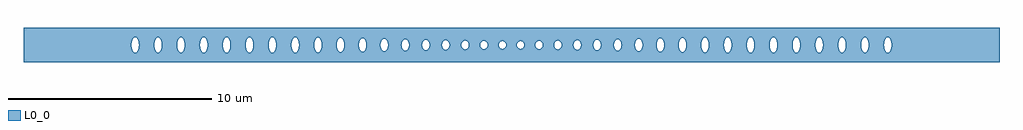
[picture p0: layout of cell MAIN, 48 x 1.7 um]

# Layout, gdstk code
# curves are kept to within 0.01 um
import gdstk
lib = gdstk.Library(unit=1e-6, precision=1e-09)
def P(c, l, *ps):  # polygons
    for p in ps: c.add(gdstk.Polygon(p, *l))
L0_0 = (0, 0)

main = lib.new_cell('MAIN')
P(main, L0_0, [(-18.54,-0.387),(-18.598,-0.345),(-18.651,-0.253),(-18.651,-0.85),(-18.54,-0.85)],
  [(-18.534,0.389),(-18.48,0.39),(-18.414,0.345),(-18.362,0.257),(-18.327,0.132),(-18.327,0.85),(-18.54,0.85)],
  [(-18.327,-0.132),(-18.362,-0.257),(-18.414,-0.345),(-18.48,-0.39),(-18.54,-0.387),(-18.54,-0.85),(-18.327,-0.85)],
  [(24,0.85),(18.651,0.85),(18.651,0.253),(18.685,0.132),(18.696,0),(18.685,-0.132),(18.651,-0.253),(18.651,-0.85),(24,-0.85)],
  [(-17.471,0.347),(-17.405,0.391),(-17.34,0.384),(-17.285,0.339),(-17.235,0.248),(-17.235,0.85),(-17.476,0.85)],
  [(-17.235,-0.248),(-17.285,-0.339),(-17.34,-0.384),(-17.405,-0.391),(-17.476,-0.342),(-17.476,-0.85),(-17.235,-0.85)],
  [(-17.571,0.006),(-17.546,0.198),(-17.476,0.342),(-17.476,0.85),(-18.327,0.85),(-18.317,0)],
  [(-16.399,0.261),(-16.34,0.355),(-16.28,0.391),(-16.213,0.383),(-16.159,0.336),(-16.159,0.85),(-16.401,0.85)],
  [(-16.159,-0.336),(-16.213,-0.383),(-16.28,-0.391),(-16.34,-0.355),(-16.401,-0.257),(-16.401,-0.85),(-16.159,-0.85)],
  [(-16.447,0.006),(-16.439,0.116),(-16.401,0.257),(-16.401,0.85),(-17.235,0.85),(-17.235,0.248),(-17.201,0.121),(-17.192,0)],
  [(-15.309,0.147),(-15.279,0.253),(-15.225,0.345),(-15.156,0.391),(-15.094,0.385),(-15.094,0.85),(-15.31,0.85)],
  [(-15.094,-0.385),(-15.156,-0.391),(-15.225,-0.345),(-15.279,-0.253),(-15.31,-0.142),(-15.31,-0.85),(-15.094,-0.85)],
  [(-15.323,0.006),(-15.31,0.142),(-15.31,0.85),(-16.159,0.85),(-16.159,0.336),(-16.092,0.193),(-16.068,0)],
  [(-14.198,0.011),(-14.188,0.132),(-14.153,0.257),(-14.101,0.345),(-14.037,0.389),(-14.037,0.85),(-14.198,0.85)],
  [(-14.037,-0.389),(-14.101,-0.345),(-14.153,-0.257),(-14.188,-0.132),(-14.198,-0.006),(-14.198,-0.85),(-14.037,-0.85)],
  [(-14.032,0.391),(-13.965,0.383),(-13.91,0.336),(-13.86,0.244),(-13.829,0.121),(-13.829,0.85),(-14.037,0.85)],
  [(-13.829,-0.121),(-13.86,-0.244),(-13.91,-0.336),(-13.965,-0.383),(-14.037,-0.389),(-14.037,-0.85),(-13.829,-0.85)],
  [(-14.198,0.006),(-14.198,0.85),(-15.094,0.85),(-15.094,0.385),(-15.039,0.342),(-14.984,0.244),(-14.951,0.11),(-14.944,0)],
  [(-12.969,0.352),(-12.908,0.391),(-12.843,0.384),(-12.788,0.339),(-12.734,0.239),(-12.734,0.85),(-12.974,0.85)],
  [(-12.734,-0.239),(-12.788,-0.339),(-12.843,-0.384),(-12.908,-0.391),(-12.974,-0.347),(-12.974,-0.85),(-12.734,-0.85)],
  [(-13.074,0.006),(-13.049,0.198),(-12.974,0.347),(-12.974,0.85),(-13.829,0.85),(-13.819,0)],
  [(-11.899,0.269),(-11.838,0.36),(-11.783,0.391),(-11.716,0.383),(-11.657,0.33),(-11.657,0.85),(-11.9,0.85)],
  [(-11.657,-0.33),(-11.716,-0.383),(-11.783,-0.391),(-11.852,-0.345),(-11.9,-0.265),(-11.9,-0.85),(-11.657,-0.85)],
  [(-11.95,0.006),(-11.935,0.153),(-11.9,0.265),(-11.9,0.85),(-12.734,0.85),(-12.734,0.239),(-12.704,0.121),(-12.695,0)],
  [(-10.81,0.157),(-10.776,0.264),(-10.725,0.345),(-10.66,0.387),(-10.591,0.378),(-10.591,0.85),(-10.811,0.85)],
  [(-10.591,-0.378),(-10.66,-0.387),(-10.725,-0.345),(-10.776,-0.264),(-10.811,-0.152),(-10.811,-0.85),(-10.591,-0.85)],
  [(-10.826,0.006),(-10.811,0.152),(-10.811,0.85),(-11.657,0.85),(-11.657,0.33),(-11.591,0.178),(-11.571,0)],
  [(-9.706,0.025),(-9.687,0.167),(-9.656,0.258),(-9.601,0.34),(-9.532,0.378),(-9.532,0.85),(-9.706,0.85)],
  [(-9.532,-0.378),(-9.601,-0.34),(-9.656,-0.258),(-9.687,-0.167),(-9.706,-0.019),(-9.706,-0.85),(-9.532,-0.85)],
  [(-9.527,0.378),(-9.472,0.369),(-9.403,0.304),(-9.355,0.199),(-9.331,0.082),(-9.331,0.85),(-9.532,0.85)],
  [(-9.331,-0.082),(-9.355,-0.199),(-9.407,-0.31),(-9.472,-0.369),(-9.532,-0.378),(-9.532,-0.85),(-9.331,-0.85)],
  [(-9.706,0.003),(-9.706,0.85),(-10.591,0.85),(-10.591,0.378),(-10.531,0.325),(-10.484,0.234),(-10.454,0.11),(-10.447,0)],
  [(-8.468,0.345),(-8.404,0.363),(-8.328,0.328),(-8.276,0.257),(-8.238,0.156),(-8.238,0.85),(-8.473,0.85)],
  [(-8.238,-0.156),(-8.282,-0.268),(-8.338,-0.336),(-8.404,-0.363),(-8.473,-0.342),(-8.473,-0.85),(-8.238,-0.85)],
  [(-8.599,0.005),(-8.564,0.212),(-8.525,0.288),(-8.473,0.342),(-8.473,0.85),(-9.331,0.85),(-9.327,0)],
  [(-7.413,0.3),(-7.35,0.339),(-7.279,0.334),(-7.208,0.275),(-7.165,0.192),(-7.165,0.85),(-7.418,0.85)],
  [(-7.165,-0.192),(-7.208,-0.275),(-7.279,-0.334),(-7.35,-0.339),(-7.418,-0.295),(-7.418,-0.85),(-7.165,-0.85)],
  [(-7.511,0.005),(-7.488,0.165),(-7.418,0.295),(-7.418,0.85),(-8.238,0.85),(-8.238,0.156),(-8.22,0)],
  [(-6.366,0.262),(-6.307,0.309),(-6.233,0.317),(-6.162,0.276),(-6.107,0.193),(-6.107,0.85),(-6.371,0.85)],
  [(-6.107,-0.193),(-6.162,-0.276),(-6.233,-0.317),(-6.307,-0.309),(-6.371,-0.256),(-6.371,-0.85),(-6.107,-0.85)],
  [(-6.447,0.005),(-6.427,0.146),(-6.371,0.256),(-6.371,0.85),(-7.165,0.85),(-7.165,0.192),(-7.132,0)],
  [(-5.333,0.239),(-5.271,0.285),(-5.188,0.291),(-5.119,0.249),(-5.066,0.168),(-5.066,0.85),(-5.338,0.85)],
  [(-5.066,-0.168),(-5.119,-0.249),(-5.188,-0.291),(-5.271,-0.285),(-5.338,-0.233),(-5.338,-0.85),(-5.066,-0.85)],
  [(-5.411,0.002),(-5.391,0.133),(-5.338,0.233),(-5.338,0.85),(-6.107,0.85),(-6.107,0.193),(-6.068,0)],
  [(-4.305,0.238),(-4.231,0.27),(-4.16,0.26),(-4.092,0.208),(-4.04,0.108),(-4.04,0.85),(-4.31,0.85)],
  [(-4.04,-0.108),(-4.092,-0.208),(-4.16,-0.26),(-4.237,-0.269),(-4.31,-0.233),(-4.31,-0.85),(-4.04,-0.85)],
  [(-4.403,0.002),(-4.38,0.131),(-4.31,0.233),(-4.31,0.85),(-5.066,0.85),(-5.066,0.168),(-5.032,0)],
  [(-3.276,0.242),(-3.205,0.245),(-3.127,0.204),(-3.07,0.123),(-3.046,0.013),(-3.046,0.85),(-3.283,0.85)],
  [(-3.046,-0.013),(-3.07,-0.123),(-3.127,-0.204),(-3.205,-0.245),(-3.283,-0.24),(-3.283,-0.85),(-3.046,-0.85)],
  [(-3.425,0.002),(-3.39,0.144),(-3.344,0.203),(-3.283,0.24),(-3.283,0.85),(-4.04,0.85),(-4.04,0.108),(-4.024,0)],
  [(-2.473,0.004),(-2.453,0.103),(-2.399,0.181),(-2.319,0.224),(-2.245,0.223),(-2.245,0.85),(-3.046,0.85),(-3.046,0)],
  [(-1.522,0.102),(-1.46,0.177),(-1.371,0.211),(-1.284,0.196),(-1.218,0.145),(-1.218,0.85),(-1.524,0.85)],
  [(-1.218,-0.145),(-1.291,-0.199),(-1.385,-0.209),(-1.469,-0.17),(-1.524,-0.099),(-1.524,-0.85),(-1.218,-0.85)],
  [(-1.546,0.004),(-1.524,0.099),(-1.524,0.85),(-2.245,0.85),(-2.245,0.223),(-2.183,0.193),(-2.135,0.142),(-2.102,0.067),(-2.094,0)],
  [(-0.514,0.188),(-0.429,0.2),(-0.338,0.164),(-0.279,0.092),(-0.258,0),(-0.258,0.85),(-0.521,0.85)],
  [(-0.258,0),(-0.279,-0.092),(-0.338,-0.164),(-0.429,-0.2),(-0.521,-0.185),(-0.521,-0.85),(-0.258,-0.85)],
  [(0.258,0.004),(0.279,0.092),(0.338,0.164),(0.429,0.2),(0.518,0.187),(0.518,0.85),(-0.258,0.85),(-0.258,0)],
  [(0.518,-0.187),(0.429,-0.2),(0.338,-0.164),(0.279,-0.092),(0.258,0),(-0.258,0),(-0.258,-0.85),(0.518,-0.85)],
  [(-0.637,0.004),(-0.605,0.113),(-0.521,0.185),(-0.521,0.85),(-1.218,0.85),(-1.218,0.145),(-1.179,0.076),(-1.167,0)],
  [(1.221,0.148),(1.291,0.199),(1.385,0.209),(1.469,0.17),(1.524,0.099),(1.524,0.85),(1.216,0.85)],
  [(1.524,-0.099),(1.46,-0.177),(1.371,-0.211),(1.284,-0.196),(1.216,-0.142),(1.216,-0.85),(1.524,-0.85)],
  [(1.167,0.004),(1.179,0.076),(1.216,0.142),(1.216,0.85),(0.518,0.85),(0.518,0.187),(0.605,0.113),(0.637,0)],
  [(2.094,0.004),(2.102,0.067),(2.135,0.142),(2.183,0.193),(2.245,0.223),(2.245,0.85),(1.524,0.85),(1.524,0.099),(1.546,0)],
  [(3.046,0.016),(3.071,0.125),(3.126,0.203),(3.2,0.244),(3.281,0.24),(3.281,0.85),(3.046,0.85)],
  [(3.281,-0.24),(3.2,-0.244),(3.126,-0.203),(3.071,-0.125),(3.046,-0.011),(3.046,-0.85),(3.281,-0.85)],
  [(3.046,0.002),(3.046,0.85),(2.245,0.85),(2.245,0.223),(2.319,0.224),(2.399,0.181),(2.453,0.103),(2.473,0)],
  [(4.039,0.106),(4.081,0.194),(4.149,0.255),(4.232,0.27),(4.306,0.236),(4.306,0.85),(4.038,0.85)],
  [(4.306,-0.236),(4.232,-0.27),(4.149,-0.255),(4.081,-0.194),(4.038,-0.102),(4.038,-0.85),(4.306,-0.85)],
  [(4.024,0.002),(4.038,0.102),(4.038,0.85),(3.281,0.85),(3.281,0.24),(3.343,0.204),(3.387,0.149),(3.425,0)],
  [(5.065,0.166),(5.12,0.25),(5.196,0.293),(5.267,0.287),(5.334,0.238),(5.334,0.85),(5.063,0.85)],
  [(5.334,-0.238),(5.267,-0.287),(5.196,-0.293),(5.12,-0.25),(5.063,-0.162),(5.063,-0.85),(5.334,-0.85)],
  [(5.032,0.002),(5.063,0.162),(5.063,0.85),(4.306,0.85),(4.306,0.236),(4.376,0.141),(4.403,0)],
  [(6.109,0.197),(6.162,0.276),(6.233,0.317),(6.307,0.309),(6.371,0.256),(6.371,0.85),(6.107,0.85)],
  [(6.371,-0.256),(6.307,-0.309),(6.233,-0.317),(6.162,-0.276),(6.107,-0.193),(6.107,-0.85),(6.371,-0.85)],
  [(6.068,0.005),(6.107,0.193),(6.107,0.85),(5.334,0.85),(5.334,0.238),(5.393,0.127),(5.411,0)],
  [(7.166,0.196),(7.218,0.287),(7.284,0.336),(7.35,0.339),(7.418,0.295),(7.418,0.85),(7.165,0.85)],
  [(7.418,-0.295),(7.35,-0.339),(7.279,-0.334),(7.208,-0.275),(7.165,-0.192),(7.165,-0.85),(7.418,-0.85)],
  [(7.132,0.005),(7.165,0.192),(7.165,0.85),(6.371,0.85),(6.371,0.256),(6.427,0.146),(6.447,0)],
  [(8.24,0.161),(8.282,0.268),(8.338,0.336),(8.404,0.363),(8.47,0.344),(8.47,0.85),(8.238,0.85)],
  [(8.47,-0.344),(8.404,-0.363),(8.328,-0.328),(8.276,-0.257),(8.238,-0.156),(8.238,-0.85),(8.47,-0.85)],
  [(8.22,0.005),(8.238,0.156),(8.238,0.85),(7.418,0.85),(7.418,0.295),(7.488,0.165),(7.511,0)],
  [(9.331,0.079),(9.357,0.206),(9.395,0.292),(9.455,0.359),(9.528,0.378),(9.528,0.85),(9.331,0.85)],
  [(9.528,-0.378),(9.455,-0.359),(9.395,-0.292),(9.354,-0.196),(9.331,-0.074),(9.331,-0.85),(9.528,-0.85)],
  [(9.706,0.85),(9.528,0.85),(9.528,0.378),(9.59,0.35),(9.651,0.268),(9.691,0.15),(9.706,0.027)],
  [(9.706,-0.027),(9.691,-0.15),(9.651,-0.268),(9.59,-0.35),(9.528,-0.378),(9.528,-0.85),(9.706,-0.85)],
  [(9.327,0.003),(9.331,0.85),(8.47,0.85),(8.47,0.344),(8.518,0.298),(8.564,0.212),(8.599,0)],
  [(10.596,0.381),(10.66,0.387),(10.725,0.345),(10.776,0.264),(10.811,0.152),(10.811,0.85),(10.591,0.85)],
  [(10.811,-0.152),(10.776,-0.264),(10.725,-0.345),(10.66,-0.387),(10.591,-0.378),(10.591,-0.85),(10.811,-0.85)],
  [(10.447,0.006),(10.454,0.11),(10.489,0.247),(10.538,0.334),(10.591,0.378),(10.591,0.85),(9.706,0.85),(9.706,0)],
  [(11.662,0.336),(11.716,0.383),(11.783,0.391),(11.852,0.345),(11.9,0.265),(11.9,0.85),(11.657,0.85)],
  [(11.9,-0.265),(11.852,-0.345),(11.783,-0.391),(11.716,-0.383),(11.657,-0.33),(11.657,-0.85),(11.9,-0.85)],
  [(11.571,0.006),(11.591,0.178),(11.657,0.33),(11.657,0.85),(10.811,0.85),(10.811,0.152),(10.826,0)],
  [(12.734,0.239),(12.788,0.339),(12.843,0.384),(12.908,0.391),(12.972,0.35),(12.972,0.85),(12.733,0.85)],
  [(12.972,-0.35),(12.908,-0.391),(12.843,-0.384),(12.779,-0.327),(12.733,-0.235),(12.733,-0.85),(12.972,-0.85)],
  [(12.695,0.006),(12.733,0.235),(12.733,0.85),(11.9,0.85),(11.9,0.265),(11.939,0.132),(11.95,0)],
  [(13.829,0.121),(13.86,0.244),(13.91,0.336),(13.965,0.383),(14.034,0.39),(14.034,0.85),(13.828,0.85)],
  [(14.034,-0.39),(13.965,-0.383),(13.91,-0.336),(13.86,-0.244),(13.828,-0.116),(13.828,-0.85),(14.034,-0.85)],
  [(14.198,0.85),(14.034,0.85),(14.034,0.39),(14.101,0.345),(14.153,0.257),(14.188,0.132),(14.198,0.011)],
  [(14.198,-0.011),(14.188,-0.132),(14.153,-0.257),(14.101,-0.345),(14.034,-0.39),(14.034,-0.85),(14.198,-0.85)],
  [(13.819,0.006),(13.828,0.85),(12.972,0.85),(12.972,0.35),(13.049,0.198),(13.074,0)],
  [(15.1,0.387),(15.159,0.39),(15.225,0.345),(15.279,0.253),(15.31,0.142),(15.31,0.85),(15.094,0.85)],
  [(15.31,-0.142),(15.279,-0.253),(15.225,-0.345),(15.156,-0.391),(15.094,-0.385),(15.094,-0.85),(15.31,-0.85)],
  [(14.944,0.006),(14.952,0.116),(14.984,0.244),(15.039,0.342),(15.094,0.385),(15.094,0.85),(14.198,0.85),(14.198,0)],
  [(16.164,0.342),(16.213,0.383),(16.286,0.389),(16.349,0.345),(16.401,0.257),(16.401,0.85),(16.159,0.85)],
  [(16.401,-0.257),(16.34,-0.355),(16.28,-0.391),(16.213,-0.383),(16.159,-0.336),(16.159,-0.85),(16.401,-0.85)],
  [(16.068,0.006),(16.092,0.193),(16.159,0.336),(16.159,0.85),(15.31,0.85),(15.31,0.142),(15.323,0)],
  [(17.235,0.248),(17.285,0.339),(17.34,0.384),(17.405,0.391),(17.473,0.345),(17.473,0.85),(17.233,0.85)],
  [(17.473,-0.345),(17.405,-0.391),(17.34,-0.384),(17.285,-0.339),(17.233,-0.244),(17.233,-0.85),(17.473,-0.85)],
  [(17.192,0.006),(17.201,0.121),(17.233,0.244),(17.233,0.85),(16.401,0.85),(16.401,0.257),(16.439,0.116),(16.447,0)],
  [(18.327,0.132),(18.362,0.257),(18.414,0.345),(18.48,0.39),(18.537,0.388),(18.537,0.85),(18.327,0.85)],
  [(18.537,-0.388),(18.48,-0.39),(18.414,-0.345),(18.362,-0.257),(18.327,-0.126),(18.327,-0.85),(18.537,-0.85)],
  [(-18.651,-0.253),(-18.685,-0.132),(-18.696,0),(-18.685,0.132),(-18.651,0.253),(-18.651,0.85),(-24,0.85),(-24,-0.85),(-18.651,-0.85)],
  [(-18.65,0.257),(-18.598,0.345),(-18.54,0.387),(-18.54,0.85),(-18.651,0.85)],
  [(18.651,0.85),(18.537,0.85),(18.537,0.388),(18.598,0.345),(18.651,0.253)],
  [(18.651,-0.253),(18.598,-0.345),(18.537,-0.388),(18.537,-0.85),(18.651,-0.85)],
  [(-17.476,-0.342),(-17.546,-0.198),(-17.571,0),(-18.317,0),(-18.327,-0.85),(-17.476,-0.85)],
  [(-16.401,-0.257),(-16.439,-0.116),(-16.447,0),(-17.192,0),(-17.201,-0.121),(-17.235,-0.248),(-17.235,-0.85),(-16.401,-0.85)],
  [(-15.31,-0.142),(-15.323,0),(-16.068,0),(-16.092,-0.193),(-16.159,-0.336),(-16.159,-0.85),(-15.31,-0.85)],
  [(-14.198,-0.006),(-14.944,0),(-14.951,-0.11),(-14.984,-0.244),(-15.039,-0.342),(-15.094,-0.385),(-15.094,-0.85),(-14.198,-0.85)],
  [(-12.974,-0.347),(-13.049,-0.198),(-13.074,0),(-13.819,0),(-13.829,-0.85),(-12.974,-0.85)],
  [(-11.9,-0.265),(-11.939,-0.132),(-11.95,0),(-12.695,0),(-12.704,-0.121),(-12.734,-0.239),(-12.734,-0.85),(-11.9,-0.85)],
  [(-10.811,-0.152),(-10.826,0),(-11.571,0),(-11.591,-0.178),(-11.657,-0.33),(-11.657,-0.85),(-10.811,-0.85)],
  [(-9.706,-0.019),(-9.706,0),(-10.447,0),(-10.454,-0.11),(-10.484,-0.234),(-10.531,-0.325),(-10.591,-0.378),(-10.591,-0.85),(-9.706,-0.85)],
  [(-8.473,-0.342),(-8.518,-0.298),(-8.564,-0.212),(-8.599,0),(-9.327,0),(-9.331,-0.85),(-8.473,-0.85)],
  [(-7.418,-0.295),(-7.488,-0.165),(-7.511,0),(-8.22,0),(-8.238,-0.156),(-8.238,-0.85),(-7.418,-0.85)],
  [(-6.371,-0.256),(-6.427,-0.146),(-6.447,0),(-7.132,0),(-7.165,-0.192),(-7.165,-0.85),(-6.371,-0.85)],
  [(-5.338,-0.233),(-5.391,-0.133),(-5.411,0),(-6.068,0),(-6.107,-0.193),(-6.107,-0.85),(-5.338,-0.85)],
  [(-4.31,-0.233),(-4.38,-0.131),(-4.403,0),(-5.032,0),(-5.066,-0.168),(-5.066,-0.85),(-4.31,-0.85)],
  [(-3.283,-0.24),(-3.344,-0.203),(-3.39,-0.144),(-3.425,0),(-4.024,0),(-4.04,-0.108),(-4.04,-0.85),(-3.283,-0.85)],
  [(-2.245,-0.223),(-2.319,-0.224),(-2.399,-0.181),(-2.453,-0.103),(-2.473,0),(-3.046,0),(-3.046,-0.85),(-2.245,-0.85)],
  [(-1.524,-0.099),(-1.546,0),(-2.094,0),(-2.102,-0.067),(-2.135,-0.142),(-2.183,-0.193),(-2.245,-0.223),(-2.245,-0.85),(-1.524,-0.85)],
  [(-0.521,-0.185),(-0.605,-0.113),(-0.637,0),(-1.167,0),(-1.179,-0.076),(-1.218,-0.145),(-1.218,-0.85),(-0.521,-0.85)],
  [(1.216,-0.142),(1.179,-0.076),(1.167,0),(0.637,0),(0.605,-0.113),(0.518,-0.187),(0.518,-0.85),(1.216,-0.85)],
  [(2.245,-0.223),(2.183,-0.193),(2.135,-0.142),(2.102,-0.067),(2.094,0),(1.546,0),(1.524,-0.099),(1.524,-0.85),(2.245,-0.85)],
  [(3.046,-0.011),(3.046,0),(2.473,0),(2.453,-0.103),(2.399,-0.181),(2.319,-0.224),(2.245,-0.223),(2.245,-0.85),(3.046,-0.85)],
  [(4.038,-0.102),(4.024,0),(3.425,0),(3.387,-0.149),(3.343,-0.204),(3.281,-0.24),(3.281,-0.85),(4.038,-0.85)],
  [(5.063,-0.162),(5.032,0),(4.403,0),(4.376,-0.141),(4.306,-0.236),(4.306,-0.85),(5.063,-0.85)],
  [(6.107,-0.193),(6.068,0),(5.411,0),(5.393,-0.127),(5.334,-0.238),(5.334,-0.85),(6.107,-0.85)],
  [(7.165,-0.192),(7.132,0),(6.447,0),(6.427,-0.146),(6.371,-0.256),(6.371,-0.85),(7.165,-0.85)],
  [(8.238,-0.156),(8.22,0),(7.511,0),(7.488,-0.165),(7.418,-0.295),(7.418,-0.85),(8.238,-0.85)],
  [(9.331,-0.074),(9.327,0),(8.599,0),(8.564,-0.212),(8.518,-0.298),(8.47,-0.344),(8.47,-0.85),(9.331,-0.85)],
  [(10.591,-0.378),(10.531,-0.325),(10.484,-0.234),(10.454,-0.11),(10.447,0),(9.706,0),(9.706,-0.85),(10.591,-0.85)],
  [(11.657,-0.33),(11.591,-0.178),(11.571,0),(10.826,0),(10.811,-0.152),(10.811,-0.85),(11.657,-0.85)],
  [(12.733,-0.235),(12.704,-0.121),(12.695,0),(11.95,0),(11.939,-0.132),(11.9,-0.265),(11.9,-0.85),(12.733,-0.85)],
  [(13.828,-0.116),(13.819,0),(13.074,0),(13.049,-0.198),(12.972,-0.35),(12.972,-0.85),(13.828,-0.85)],
  [(15.094,-0.385),(15.039,-0.342),(14.984,-0.244),(14.951,-0.11),(14.944,0),(14.198,0),(14.198,-0.85),(15.094,-0.85)],
  [(16.159,-0.336),(16.092,-0.193),(16.068,0),(15.323,0),(15.31,-0.142),(15.31,-0.85),(16.159,-0.85)],
  [(17.233,-0.244),(17.201,-0.121),(17.192,0),(16.447,0),(16.439,-0.116),(16.401,-0.257),(16.401,-0.85),(17.233,-0.85)],
  [(18.327,-0.126),(18.317,0),(17.571,0),(17.546,-0.198),(17.473,-0.345),(17.473,-0.85),(18.327,-0.85)],
  [(18.317,0.006),(18.327,0.85),(17.473,0.85),(17.473,0.345),(17.546,0.198),(17.571,0)])

lib.write_gds('MAIN.gds')
